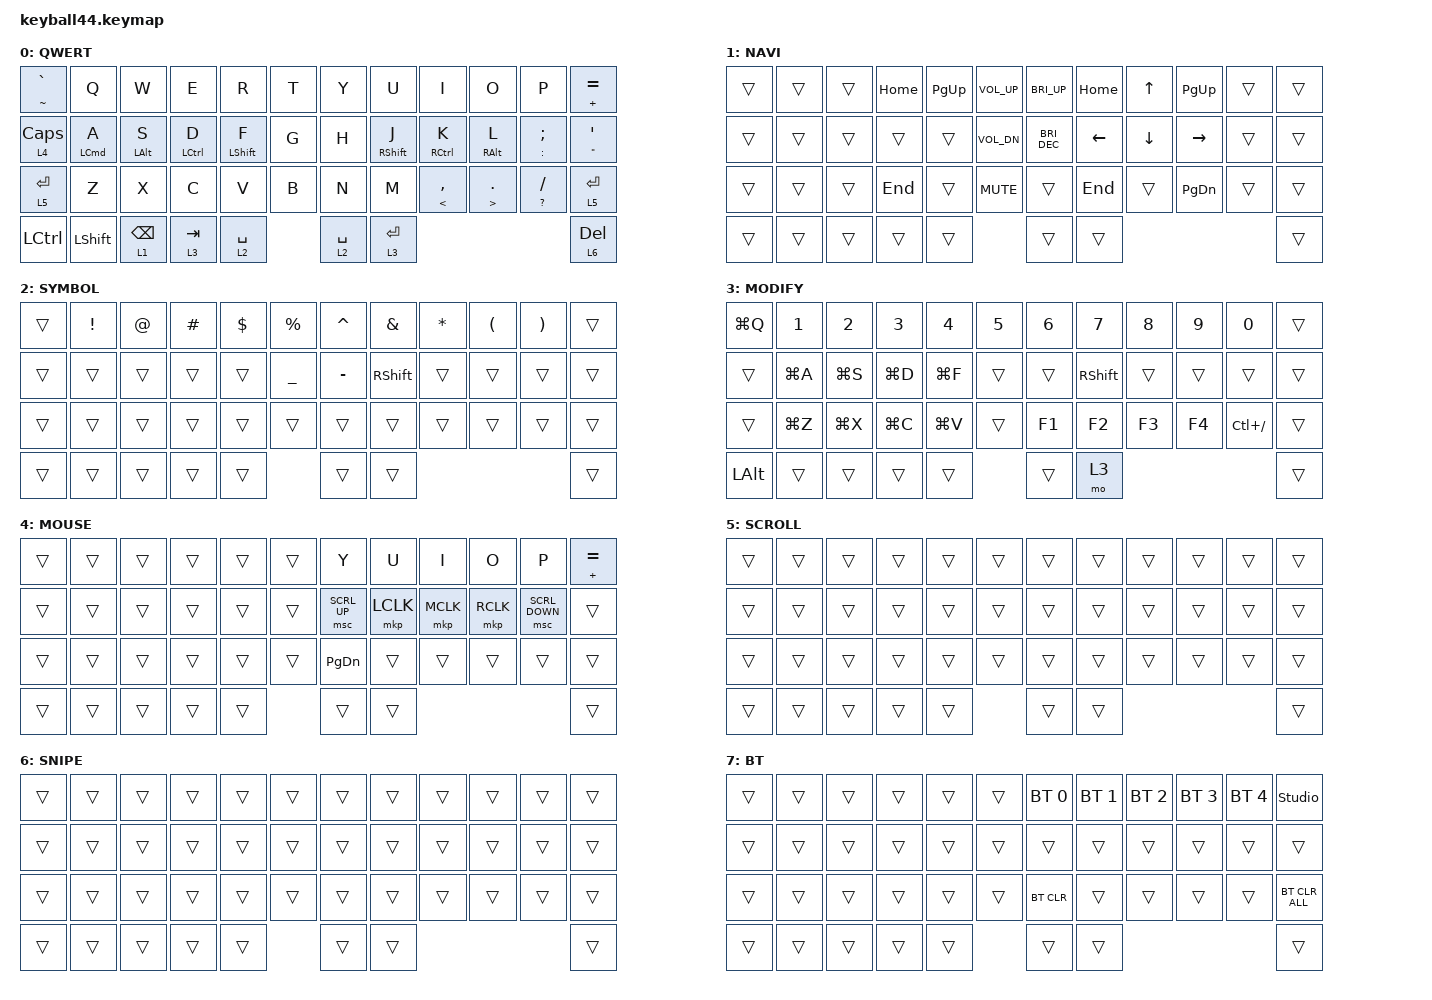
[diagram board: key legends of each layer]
#define QWERT  0
#define NAVI   1
#define NUMBER 2
#define MODIFY 3
#define MOUSE  4
#define SCROLL 5
#define SNIPE  6

#include <input/processors.dtsi>
#include <behaviors.dtsi>
#include <behaviors/runtime_macro.dtsi>
#include <dt-bindings/zmk/bt.h>
#include <dt-bindings/zmk/keys.h>
#include <dt-bindings/zmk/pointing.h>

/ {
    behaviors {
        hml: homerow_mods_left {
            compatible = "zmk,behavior-hold-tap";
            label = "HOMEROW_MODS_LEFT";
            bindings = <&kp>, <&kp>;

            #binding-cells = <2>;
            tapping-term-ms = <200>;
            quick-tap-ms = <180>;
            flavor = "balanced";
            require-prior-idle-ms = <125>;
            hold-trigger-key-positions = <21 22 19 20>;
            hold-trigger-on-release;
        };

        ltq: ltq {
            compatible = "zmk,behavior-hold-tap";
            label = "LTQ";
            bindings = <&mo>, <&kp>;

            #binding-cells = <2>;
            tapping-term-ms = <200>;
            quick-tap-ms = <180>;
        };

        as: auto_shift {
            compatible = "zmk,behavior-hold-tap";
            label = "AUTO_SHIFT";
            bindings = <&kp>, <&kp>;

            #binding-cells = <2>;
            tapping-term-ms = <140>;
            quick-tap-ms = <0>;
        };

        hmr: hmr {
            compatible = "zmk,behavior-hold-tap";
            label = "HMR";
            bindings = <&kp>, <&kp>;

            #binding-cells = <2>;
            tapping-term-ms = <200>;
            quick-tap-ms = <180>;
            flavor = "balanced";
            require-prior-idle-ms = <125>;
            hold-trigger-key-positions = <16 15 14 13>;
            hold-trigger-on-release;
        };
    };

    combos {
        compatible = "zmk,combos";

        esc {
            bindings = <&kp ESC>;
            key-positions = <0 1>;
        };

        left_bkt {
            bindings = <&kp LEFT_BRACKET>;
            key-positions = <4 3>;
        };

        right_bkt {
            bindings = <&kp RIGHT_BRACKET>;
            key-positions = <7 8>;
        };

        left_par {
            bindings = <&kp LEFT_PARENTHESIS>;
            key-positions = <15 16>;
        };

        right_par {
            bindings = <&kp RIGHT_PARENTHESIS>;
            key-positions = <19 20>;
        };

        left_brace {
            bindings = <&kp LEFT_BRACE>;
            key-positions = <27 28>;
        };

        right_brace {
            bindings = <&kp RIGHT_BRACE>;
            key-positions = <31 32>;
        };

        bac {
            bindings = <&kp BACKSLASH>;
            key-positions = <5 6>;
        };

        pipe {
            bindings = <&kp PIPE>;
            key-positions = <17 18>;
        };

        flash {
            bindings = <&bootloader>;
            key-positions = <0 11>;
        };
    };

    keymap {
        compatible = "zmk,keymap";

        QWERT {
            display-name = "QWERT";
            bindings = <
&as TILDE GRAVE   &kp Q                &kp W             &kp E                &kp R              &kp T  &kp Y         &kp U               &kp I                 &kp O                 &kp P                &as PLUS EQUAL
&ltq 4 CAPSLOCK   &hml LEFT_COMMAND A  &hml LEFT_ALT S   &hml LEFT_CONTROL D  &hml LEFT_SHIFT F  &kp G  &kp H         &hmr RIGHT_SHIFT J  &hmr RIGHT_CONTROL K  &hmr RIGHT_ALT L      &as COLON SEMICOLON  &as DOUBLE_QUOTES SQT
&ltq 5 ENTER      &kp Z                &kp X             &kp C                &kp V              &kp B  &kp N         &kp M               &as LESS_THAN COMMA   &as GREATER_THAN DOT  &as QUESTION SLASH   &ltq 5 ENTER
&kp LEFT_CONTROL  &kp LEFT_SHIFT       &ltq 1 BACKSPACE  &ltq 3 TAB           &lt 2 SPACE               &ltq 2 SPACE  &ltq 3 ENTER                                                                         &ltq 6 DELETE
            >;
        };

        NAVI {
            display-name = "NAVI";
            bindings = <
&trans  &trans  &trans  &kp HOME  &kp PAGE_UP  &kp C_VOL_UP  &kp C_BRI_UP          &kp HOME        &kp UP_ARROW    &kp PAGE_UP      &trans  &trans
&trans  &trans  &trans  &trans    &trans       &kp C_VOL_DN  &kp C_BRIGHTNESS_DEC  &kp LEFT_ARROW  &kp DOWN_ARROW  &kp RIGHT_ARROW  &trans  &trans
&trans  &trans  &trans  &kp END   &trans       &kp C_MUTE    &trans                &kp END         &trans          &kp PAGE_DOWN    &trans  &trans
&trans  &trans  &trans  &trans    &trans                     &trans                &trans                                                   &trans
            >;
        };

        SYMBOL {
            display-name = "SYMBOL";
            bindings = <
&trans  &kp EXCLAMATION  &kp AT_SIGN  &kp HASH  &kp DOLLAR  &kp PERCENT     &kp CARET  &kp AMPERSAND    &kp ASTERISK  &kp LEFT_PARENTHESIS  &kp RIGHT_PARENTHESIS  &trans
&trans  &trans           &trans       &trans    &trans      &kp UNDERSCORE  &kp MINUS  &kp RIGHT_SHIFT  &trans        &trans                &trans                 &trans
&trans  &trans           &trans       &trans    &trans      &trans          &trans     &trans           &trans        &trans                &trans                 &trans
&trans  &trans           &trans       &trans    &trans                      &trans     &trans                                                                      &trans
            >;
        };

        MODIFY {
            display-name = "MODIFY";
            bindings = <
&kp LG(Q)     &kp NUMBER_1  &kp NUMBER_2  &kp NUMBER_3  &kp NUMBER_4  &kp NUMBER_5  &kp NUMBER_6  &kp NUMBER_7     &kp NUMBER_8  &kp NUMBER_9  &kp NUMBER_0   &trans
&trans        &kp LG(A)     &kp LG(S)     &kp LG(D)     &kp LG(F)     &trans        &trans        &kp RIGHT_SHIFT  &trans        &trans        &trans         &trans
&trans        &kp LG(Z)     &kp LG(X)     &kp LG(C)     &kp LG(V)     &trans        &kp F1        &kp F2           &kp F3        &kp F4        &kp LC(SLASH)  &trans
&kp LEFT_ALT  &trans        &trans        &trans        &trans                      &trans        &mo 3                                                       &trans
            >;
        };

        MOUSE {
            display-name = "MOUSE";
            bindings = <
&trans  &trans  &trans  &trans  &trans  &trans  &kp Y          &kp U      &kp I      &kp O      &kp P           &as PLUS EQUAL
&trans  &trans  &trans  &trans  &trans  &trans  &msc SCRL_UP   &mkp LCLK  &mkp MCLK  &mkp RCLK  &msc SCRL_DOWN  &trans
&trans  &trans  &trans  &trans  &trans  &trans  &kp PAGE_DOWN  &trans     &trans     &trans     &trans          &trans
&trans  &trans  &trans  &trans  &trans          &trans         &trans                                           &trans
            >;
        };

        SCROLL {
            display-name = "SCROLL";
            bindings = <
&trans  &trans  &trans  &trans  &trans  &trans  &trans  &trans  &trans  &trans  &trans  &trans
&trans  &trans  &trans  &trans  &trans  &trans  &trans  &trans  &trans  &trans  &trans  &trans
&trans  &trans  &trans  &trans  &trans  &trans  &trans  &trans  &trans  &trans  &trans  &trans
&trans  &trans  &trans  &trans  &trans          &trans  &trans                          &trans
            >;
        };

        SNIPE {
            display-name = "SNIPE";
            bindings = <
&trans  &trans  &trans  &trans  &trans  &trans  &trans  &trans  &trans  &trans  &trans  &trans
&trans  &trans  &trans  &trans  &trans  &trans  &trans  &trans  &trans  &trans  &trans  &trans
&trans  &trans  &trans  &trans  &trans  &trans  &trans  &trans  &trans  &trans  &trans  &trans
&trans  &trans  &trans  &trans  &trans          &trans  &trans                          &trans
            >;
        };

        BT {
            bindings = <
&trans  &trans  &trans  &trans  &trans  &trans  &bt BT_SEL 0  &bt BT_SEL 1  &bt BT_SEL 2  &bt BT_SEL 3  &bt BT_SEL 4  &studio_unlock
&trans  &trans  &trans  &trans  &trans  &trans  &trans        &trans        &trans        &trans        &trans        &trans
&trans  &trans  &trans  &trans  &trans  &trans  &bt BT_CLR    &trans        &trans        &trans        &trans        &bt BT_CLR_ALL
&trans  &trans  &trans  &trans  &trans          &trans        &trans                                                  &trans
            >;

            display-name = "BT";
        };
    };

    conditional_layers {
        compatible = "zmk,conditional-layers";

        mac_bluetooth {
            if-layers = <2 3>;
            then-layer = <7>;
        };
    };
};
